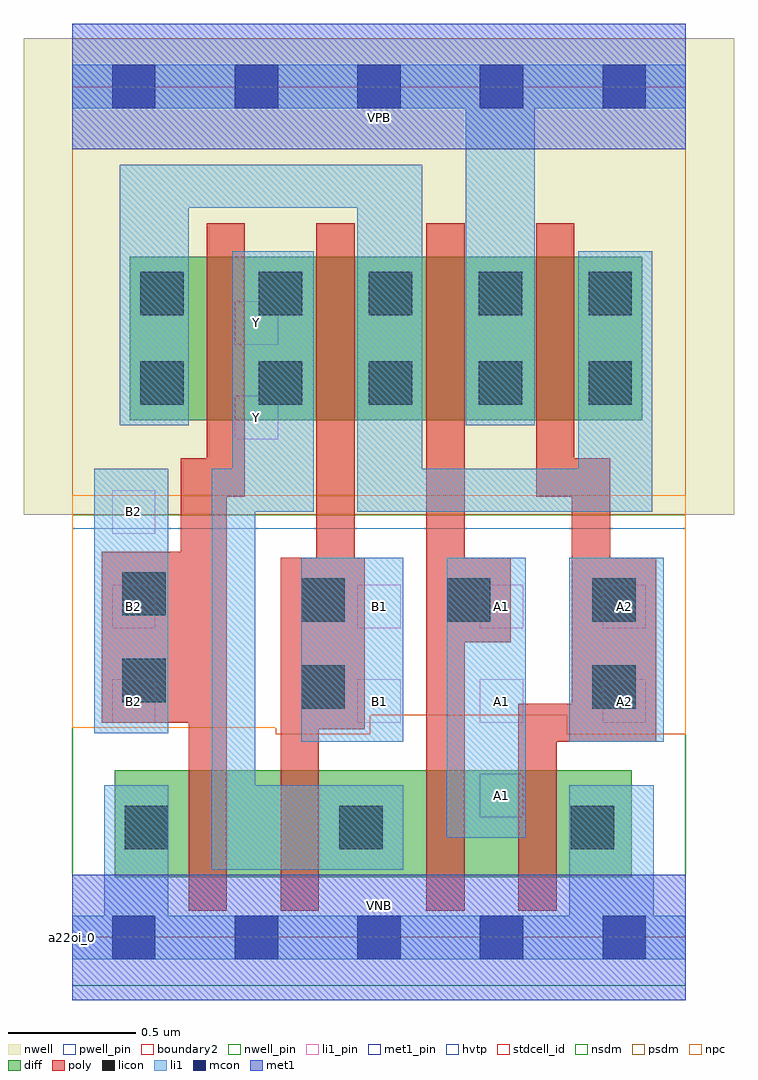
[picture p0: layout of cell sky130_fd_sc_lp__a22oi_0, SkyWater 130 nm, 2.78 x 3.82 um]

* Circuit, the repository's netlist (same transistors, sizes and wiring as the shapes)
* Copyright 2020 The SkyWater PDK Authors
*
* Licensed under the Apache License, Version 2.0 (the "License");
* you may not use this file except in compliance with the License.
* You may obtain a copy of the License at
*
*     https://www.apache.org/licenses/LICENSE-2.0
*
* Unless required by applicable law or agreed to in writing, software
* distributed under the License is distributed on an "AS IS" BASIS,
* WITHOUT WARRANTIES OR CONDITIONS OF ANY KIND, either express or implied.
* See the License for the specific language governing permissions and
* limitations under the License.
*
* SPDX-License-Identifier: Apache-2.0

.SUBCKT sky130_fd_sc_lp__a22oi_0 A1 A2 B1 B2 VGND VNB VPB VPWR Y
*.PININFO A1:I A2:I B1:I B2:I VGND:I VNB:I VPB:I VPWR:I Y:O
MMPA0 pndA A1 VPWR VPB sky130_fd_pr__pfet_01v8_hvt m=1 w=0.64U l=0.15U mult=1 sa=0.265
+ sb=0.265 sd=0.28 area=0.063 perim=1.14
MMPA1 pndA A2 VPWR VPB sky130_fd_pr__pfet_01v8_hvt m=1 w=0.64U l=0.15U mult=1 sa=0.265
+ sb=0.265 sd=0.28 area=0.063 perim=1.14
MMPB0 Y B1 pndA VPB sky130_fd_pr__pfet_01v8_hvt m=1 w=0.64U l=0.15U mult=1 sa=0.265
+ sb=0.265 sd=0.28 area=0.063 perim=1.14
MMPB1 Y B2 pndA VPB sky130_fd_pr__pfet_01v8_hvt m=1 w=0.64U l=0.15U mult=1 sa=0.265
+ sb=0.265 sd=0.28 area=0.063 perim=1.14
MMNA0 Y A1 sndA1 VNB sky130_fd_pr__nfet_01v8 m=1 w=0.42U l=0.15U mult=1 sa=0.265
+ sb=0.265 sd=0.28 area=0.063 perim=1.14
MMNA1 sndA1 A2 VGND VNB sky130_fd_pr__nfet_01v8 m=1 w=0.42U l=0.15U mult=1 sa=0.265
+ sb=0.265 sd=0.28 area=0.063 perim=1.14
MMNB0 Y B1 sndB1 VNB sky130_fd_pr__nfet_01v8 m=1 w=0.42U l=0.15U mult=1 sa=0.265
+ sb=0.265 sd=0.28 area=0.063 perim=1.14
MMNB1 sndB1 B2 VGND VNB sky130_fd_pr__nfet_01v8 m=1 w=0.42U l=0.15U mult=1 sa=0.265
+ sb=0.265 sd=0.28 area=0.063 perim=1.14
.ENDS sky130_fd_sc_lp__a22oi_0

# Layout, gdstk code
import gdstk
lib = gdstk.Library(unit=1e-6, precision=1e-09)
def R(c, l, rs):  # rectangles x0, y0, x1, y1
    for r in rs: c.add(gdstk.rectangle(r[:2], r[2:], *l))
def A(c, l, x, y, w, h, nx, ny, dx, dy):  # array of equal rectangles
    R(c, l, [(x+i*dx, y+j*dy, x+i*dx+w, y+j*dy+h) for i in range(nx) for j in range(ny)])
def P(c, l, *ps):  # polygons
    for p in ps: c.add(gdstk.Polygon(p, *l))
nwell_pin = (64, 16)
nwell = (64, 20)
diff = (65, 20)
poly = (66, 20)
licon = (66, 44)
li1_pin = (67, 16)
li1 = (67, 20)
mcon = (67, 44)
met1_pin = (68, 16)
met1 = (68, 20)
hvtp = (78, 44)
stdcell_id = (81, 4)
nsdm = (93, 44)
psdm = (94, 20)
npc = (95, 20)
pwell_pin = (122, 16)
boundary2 = (236, 0)

sky130_fd_sc_lp__a22oi_0 = lib.new_cell('sky130_fd_sc_lp__a22oi_0')
R(sky130_fd_sc_lp__a22oi_0, nwell_pin, [(0,3.085,2.4,3.33)])
R(sky130_fd_sc_lp__a22oi_0, nwell, [(-0.19,1.655,2.59,3.52)])
R(sky130_fd_sc_lp__a22oi_0, diff, [(0.165,0.235,2.19,0.655), (0.225,2.025,2.23,2.665)])
P(sky130_fd_sc_lp__a22oi_0, poly, [(2.285,1.485),(2.105,1.485),(2.105,1.875),(1.965,1.875),(1.965,2.795),(1.815,2.795),(1.815,1.725),(1.955,1.725),(1.955,0.915),(1.745,0.915),(1.745,0.105),(1.895,0.105),(1.895,0.765),(2.285,0.765)],
  [(0.675,2.795),(0.525,2.795),(0.525,1.875),(0.425,1.875),(0.425,1.51),(0.115,1.51),(0.115,0.84),(0.455,0.84),(0.455,0.105),(0.605,0.105),(0.605,1.725),(0.675,1.725)],
  [(1.145,1.485),(1.105,1.485),(1.105,2.795),(0.955,2.795),(0.955,1.485),(0.815,1.485),(0.815,0.105),(0.965,0.105),(0.965,0.815),(1.145,0.815)],
  [(1.715,1.485),(1.535,1.485),(1.535,2.795),(1.385,2.795),(1.385,0.105),(1.535,0.105),(1.535,1.155),(1.715,1.155)])
A(sky130_fd_sc_lp__a22oi_0, licon, 0.895, 1.235, 0.17, 0.17, 3, 1, 0.57, 0)
A(sky130_fd_sc_lp__a22oi_0, licon, 0.73, 2.085, 0.17, 0.17, 4, 2, 0.43, 0.35)
R(sky130_fd_sc_lp__a22oi_0, licon, [(0.205,0.345,0.375,0.515), (1.045,0.345,1.215,0.515), (1.95,0.345,2.12,0.515), (0.895,0.895,1.065,1.065), (2.035,0.895,2.205,1.065), (0.195,0.92,0.365,1.09), (0.195,1.26,0.365,1.43), (0.265,2.085,0.435,2.255), (0.265,2.435,0.435,2.605)])
A(sky130_fd_sc_lp__a22oi_0, li1_pin, 0.155, 0.84, 0.17, 0.17, 1, 3, 0, 0.37)
A(sky130_fd_sc_lp__a22oi_0, li1_pin, 1.115, 0.84, 0.17, 0.17, 3, 2, 0.48, 0.37)
R(sky130_fd_sc_lp__a22oi_0, li1_pin, [(1.595,0.47,1.765,0.64), (0.635,1.95,0.805,2.12), (0.635,2.32,0.805,2.49)])
R(sky130_fd_sc_lp__a22oi_0, li1, [(1.465,0.39,1.775,1.485), (0.895,0.765,1.295,1.485), (1.945,0.765,2.315,1.485), (0.085,0.8,0.375,1.835)])
P(sky130_fd_sc_lp__a22oi_0, li1, [(2.27,2.685),(1.98,2.685),(1.98,1.835),(1.37,1.835),(1.37,3.025),(0.185,3.025),(0.185,2.005),(0.455,2.005),(0.455,2.855),(1.115,2.855),(1.115,1.665),(2.27,1.665)],
  [(2.4,3.415),(0,3.415),(0,3.245),(1.54,3.245),(1.54,2.005),(1.81,2.005),(1.81,3.245),(2.4,3.245)],
  [(1.295,0.595),(0.715,0.595),(0.715,1.665),(0.945,1.665),(0.945,2.685),(0.625,2.685),(0.625,1.835),(0.545,1.835),(0.545,0.265),(1.295,0.265)],
  [(2.4,0.085),(2.275,0.085),(2.275,0.595),(1.945,0.595),(1.945,0.085),(0.375,0.085),(0.375,0.595),(0.125,0.595),(0.125,0.085),(0,0.085),(0,-0.085),(2.4,-0.085)])
A(sky130_fd_sc_lp__a22oi_0, mcon, 0.155, -0.085, 0.17, 0.17, 5, 2, 0.48, 3.33)
R(sky130_fd_sc_lp__a22oi_0, met1_pin, [(0,0,2.4,0.245), (0,3.085,2.4,3.33)])
R(sky130_fd_sc_lp__a22oi_0, met1, [(0,-0.245,2.4,0.245), (0,3.085,2.4,3.575)])
R(sky130_fd_sc_lp__a22oi_0, hvtp, [(0,1.6,2.4,3.33)])
R(sky130_fd_sc_lp__a22oi_0, stdcell_id, [(0,0,2.4,3.33)])
R(sky130_fd_sc_lp__a22oi_0, nsdm, [(0,-0.19,2.4,1.655)])
R(sky130_fd_sc_lp__a22oi_0, psdm, [(0,1.655,2.4,3.52)])
P(sky130_fd_sc_lp__a22oi_0, npc, [(2.4,1.73),(0,1.73),(0,0.82),(0.795,0.82),(0.795,0.795),(1.165,0.795),(1.165,0.87),(1.935,0.87),(1.935,0.795),(2.4,0.795)])
R(sky130_fd_sc_lp__a22oi_0, pwell_pin, [(0,0,2.4,0.245)])
R(sky130_fd_sc_lp__a22oi_0, boundary2, [(0,0,2.4,3.33)])
sky130_fd_sc_lp__a22oi_0.add(gdstk.Label('VNB', (1.2,0.123), layer=64, texttype=59))
sky130_fd_sc_lp__a22oi_0.add(gdstk.Label('VPB', (1.2,3.208), layer=64, texttype=5))
sky130_fd_sc_lp__a22oi_0.add(gdstk.Label('a22oi_0', (0,0), layer=83, texttype=44))
sky130_fd_sc_lp__a22oi_0.add(gdstk.Label('VPWR', (1.2,3.208), layer=68, texttype=5))
sky130_fd_sc_lp__a22oi_0.add(gdstk.Label('VGND', (1.2,0.123), layer=68, texttype=5))
sky130_fd_sc_lp__a22oi_0.add(gdstk.Label('A1', (1.68,0.555), layer=67, texttype=5))
sky130_fd_sc_lp__a22oi_0.add(gdstk.Label('A1', (1.68,0.925), layer=67, texttype=5))
sky130_fd_sc_lp__a22oi_0.add(gdstk.Label('A1', (1.68,1.295), layer=67, texttype=5))
sky130_fd_sc_lp__a22oi_0.add(gdstk.Label('A2', (2.16,0.925), layer=67, texttype=5))
sky130_fd_sc_lp__a22oi_0.add(gdstk.Label('A2', (2.16,1.295), layer=67, texttype=5))
sky130_fd_sc_lp__a22oi_0.add(gdstk.Label('B1', (1.2,0.925), layer=67, texttype=5))
sky130_fd_sc_lp__a22oi_0.add(gdstk.Label('B1', (1.2,1.295), layer=67, texttype=5))
sky130_fd_sc_lp__a22oi_0.add(gdstk.Label('B2', (0.24,0.925), layer=67, texttype=5))
sky130_fd_sc_lp__a22oi_0.add(gdstk.Label('B2', (0.24,1.295), layer=67, texttype=5))
sky130_fd_sc_lp__a22oi_0.add(gdstk.Label('B2', (0.24,1.665), layer=67, texttype=5))
sky130_fd_sc_lp__a22oi_0.add(gdstk.Label('Y', (0.72,2.035), layer=67, texttype=5))
sky130_fd_sc_lp__a22oi_0.add(gdstk.Label('Y', (0.72,2.405), layer=67, texttype=5))

lib.write_gds('sky130_fd_sc_lp__a22oi_0.gds')
